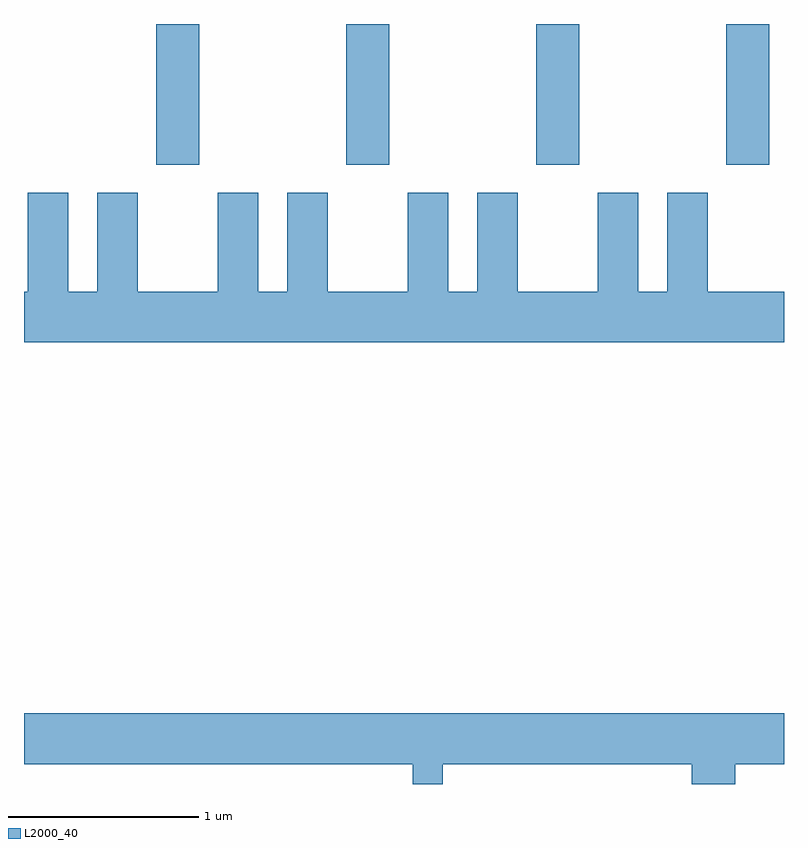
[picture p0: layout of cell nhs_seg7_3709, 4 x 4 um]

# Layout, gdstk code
import gdstk
lib = gdstk.Library(unit=1e-6, precision=1e-09)
def R(c, l, rs):  # rectangles x0, y0, x1, y1
    for r in rs: c.add(gdstk.rectangle(r[:2], r[2:], *l))
def A(c, l, x, y, w, h, nx, ny, dx, dy):  # array of equal rectangles
    R(c, l, [(x+i*dx, y+j*dy, x+i*dx+w, y+j*dy+h) for i in range(nx) for j in range(ny)])
def P(c, l, *ps):  # polygons
    for p in ps: c.add(gdstk.Polygon(p, *l))
L2000_40 = (2000, 40)

nhs_seg7_3709 = lib.new_cell('nhs_seg7_3709')
A(nhs_seg7_3709, L2000_40, 300.306, 1677.511, 0.228, 0.741, 4, 1, 1, 0)
P(nhs_seg7_3709, L2000_40, [(303.611,1676.844),(303.209,1676.844),(303.209,1677.364),(302.996,1677.364),(302.996,1676.844),(302.844,1676.844),(302.844,1677.364),(302.631,1677.364),(302.631,1676.844),(302.209,1676.844),(302.209,1677.364),(301.996,1677.364),(301.996,1676.844),(301.844,1676.844),(301.844,1677.364),(301.631,1677.364),(301.631,1676.844),(301.209,1676.844),(301.209,1677.364),(300.996,1677.364),(300.996,1676.844),(300.844,1676.844),(300.844,1677.364),(300.631,1677.364),(300.631,1676.844),(300.209,1676.844),(300.209,1677.364),(299.996,1677.364),(299.996,1676.844),(299.844,1676.844),(299.844,1677.364),(299.631,1677.364),(299.631,1676.844),(299.611,1676.844),(299.611,1676.576),(303.611,1676.576)],
  [(301.814,1674.356),(303.126,1674.356),(303.126,1674.252),(303.354,1674.252),(303.354,1674.356),(303.611,1674.356),(303.611,1674.624),(299.611,1674.624),(299.611,1674.356),(301.656,1674.356),(301.656,1674.252),(301.814,1674.252)])

lib.write_gds('nhs_seg7_3709.gds')
